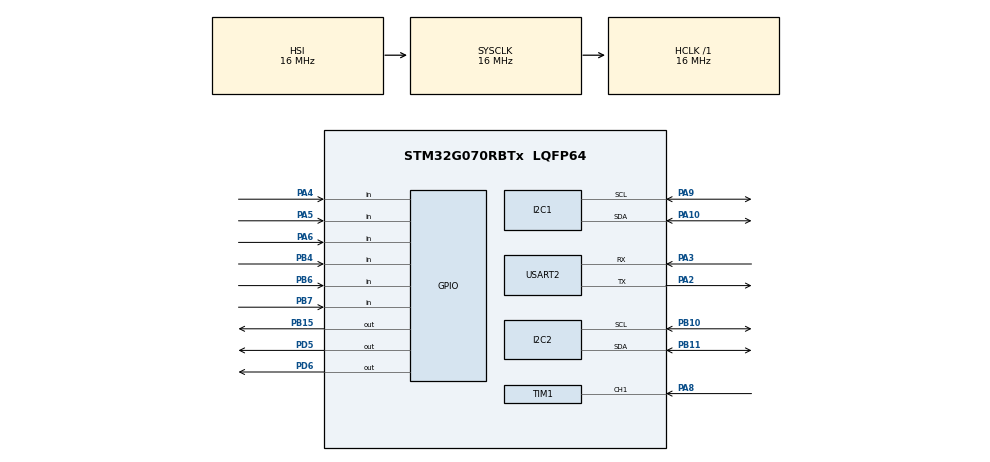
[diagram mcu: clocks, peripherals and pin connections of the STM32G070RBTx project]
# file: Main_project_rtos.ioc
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Mcu.Family=STM32G0
Mcu.Name=STM32G070RBTx
Mcu.Package=LQFP64
NVIC.TIM1_CC_IRQn=true\:0\:0\:false\:false\:true\:true\:true\:true
NVIC.TIM3_IRQn=true\:3\:0\:false\:false\:true\:false\:true\:true
NVIC.TimeBase=TIM3_IRQn
NVIC.TimeBaseIP=TIM3
PA10.Mode=I2C
PA10.Signal=I2C1_SDA
PA13.Mode=Serial_Wire
PA13.Signal=SYS_SWDIO
PA14-BOOT0.Mode=Serial_Wire
PA14-BOOT0.Signal=SYS_SWCLK
PA2.Mode=Asynchronous
PA2.Signal=USART2_TX
PA3.Mode=Asynchronous
PA3.Signal=USART2_RX
PA4.Signal=GPIO_Input
PA5.Signal=GPIO_Input
PA6.Signal=GPIO_Input
PA8.Signal=S_TIM1_CH1
PA9.Mode=I2C
PA9.Signal=I2C1_SCL
PB10.Mode=I2C
PB10.Signal=I2C2_SCL
PB11.Mode=I2C
PB11.Signal=I2C2_SDA
PB15.Signal=GPIO_Output
PB4.Signal=GPIO_Input
PB6.Signal=GPIO_Input
PB7.Signal=GPIO_Input
PC14-OSC32_IN\ (PC14).Mode=LSE-External-Oscillator
PC14-OSC32_IN\ (PC14).Signal=RCC_OSC32_IN
PC15-OSC32_OUT\ (PC15).Mode=LSE-External-Oscillator
PC15-OSC32_OUT\ (PC15).Signal=RCC_OSC32_OUT
PD5.Signal=GPIO_Output
PD6.Signal=GPIO_Output
PF0-OSC_IN\ (PF0).Mode=HSE-External-Clock-Source
PF0-OSC_IN\ (PF0).Signal=RCC_OSC_IN
ProjectManager.HeapSize=0x200
ProjectManager.StackSize=0x400
ProjectManager.TargetToolchain=STM32CubeIDE
RCC.AHBFreq_Value=16000000
RCC.CortexFreq_Value=16000000
RCC.EXTERNAL_CLOCK_VALUE=12288000
RCC.HCLKFreq_Value=16000000
RCC.HSE_VALUE=8000000
RCC.HSI_VALUE=16000000
RCC.SYSCLKFreq_VALUE=16000000
RCC.VCOOutputFreq_Value=128000000
SH.S_TIM1_CH1.0=TIM1_CH1,Input_Capture1_from_TI1
TIM1.Channel-Input_Capture1_from_TI1=TIM_CHANNEL_1
TIM1.Prescaler=72-1
USART2.VirtualMode-Asynchronous=VM_ASYNC
VP_SYS_VS_tim3.Mode=TIM3
board=NUCLEO-G070RB

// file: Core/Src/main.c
/* USER CODE BEGIN Header */
/**
  ******************************************************************************
  * @file           : main.c
  * @brief          : Main program body
  ******************************************************************************
  * @attention
  *
  * Copyright (c) 2023 STMicroelectronics.
  * All rights reserved.
  *
  * This software is licensed under terms that can be found in the LICENSE file
  * in the root directory of this software component.
  * If no LICENSE file comes with this software, it is provided AS-IS.
  *
  ******************************************************************************
  */
/* USER CODE END Header */
#include "main.h"

/* USER CODE BEGIN Includes */
#include "FreeRTOS.h"
#include "task.h"
#include "semphr.h"
#include "queue.h"
#include "timers.h"

#include "lcd_i2c.h"  // Library for I2C LCD display

/* USER CODE END Includes */

/* USER CODE BEGIN PD */
#define TRIGGER_PIN        GPIO_PIN_0
#define ECHO_PIN           GPIO_PIN_1
#define LEFT_IR_PIN        GPIO_PIN_2
#define RIGHT_IR_PIN       GPIO_PIN_3
#define MOTOR_ENA          GPIO_PIN_4
#define MOTOR_IN1          GPIO_PIN_5
#define MOTOR_IN2          GPIO_PIN_6
#define MOTOR_ENB          GPIO_PIN_7
#define MOTOR_IN3          GPIO_PIN_8
#define MOTOR_IN4          GPIO_PIN_9
#define BLUETOOTH_RX_PIN   GPIO_PIN_10
#define BLUETOOTH_TX_PIN   GPIO_PIN_11
#define RFID_RX_PIN        GPIO_PIN_12
#define RFID_TX_PIN        GPIO_PIN_13
#define LDR_PIN            GPIO_PIN_14
#define SWITCH_PIN         GPIO_PIN_13
#define I2C_SCL_PIN        GPIO_PIN_9
#define I2C_SDA_PIN        GPIO_PIN_10

/* USER CODE END PD */

I2C_HandleTypeDef hi2c1;
I2C_HandleTypeDef hi2c2;

TIM_HandleTypeDef htim1;

UART_HandleTypeDef huart2;

/* USER CODE BEGIN PV */
QueueHandle_t distanceQueue;
QueueHandle_t bluetoothQueue;
QueueHandle_t rfidQueue;
SemaphoreHandle_t ldrSemaphore;
TaskHandle_t lcdTaskHandle;

/* USER CODE END PV */

void SystemClock_Config(void);
static void MX_GPIO_Init(void);
static void MX_USART2_UART_Init(void);
static void MX_I2C1_Init(void);
static void MX_I2C2_Init(void);
static void MX_TIM1_Init(void);
/* USER CODE BEGIN PFP */

typedef enum {
  IR_MODE,
  BLUETOOTH_MODE
} Mode;

Mode currentMode = IR_MODE;
uint32_t rfidData = 0;
char receivedChar = '\0';

void UltrasonicSensor_Task(void *pvParameters);
void ObstacleAvoidance_Task(void *pvParameters);
void LineController_Task(void *pvParameters);
void Bluetooth_Task(void *pvParameters);
void RFID_Task(void *pvParameters);
void LDRLight_Task(void *pvParameters);
void LCD_Task(void *pvParameters);

void UltrasonicSensor_Task(void *pvParameters)
{
  float distance;

  while (1)
  {
    // Measure distance using ultrasonic sensor
    // Trigger the sensor and calculate the time for echo
    // Calculate the distance based on the time and the speed of sound
    // Store the distance in a variable or queue

    xQueueSend(distanceQueue, &distance, portMAX_DELAY);

    vTaskDelay(pdMS_TO_TICKS(500)); // Adjust the delay based on your requirements
  }
}

void ObstacleAvoidance_Task(void *pvParameters)
{
  float distance;

  while (1)
  {
    // Check the distance measured by the ultrasonic sensor
    // If an obstacle is detected within a threshold distance, take appropriate action
    // For example, stop the motors, reverse, and turn in a different direction
    // You can control the motor driver using HAL_GPIO_WritePin to set GPIO outputs

    if (currentMode == IR_MODE)
    {
      xQueueReceive(distanceQueue, &distance, portMAX_DELAY);

      // Implement obstacle avoidance logic

      vTaskDelay(pdMS_TO_TICKS(100)); // Adjust the delay based on your requirements
    }
    else
    {
      // No obstacle avoidance needed in Bluetooth mode
      vTaskDelay(pdMS_TO_TICKS(100)); // Adjust the delay based on your requirements
    }
  }
}

void LineController_Task(void *pvParameters)
{
  while (1)
  {
    // Read the values from the IR sensors to detect the line
    // Based on the sensor readings, adjust the motor speed and direction to follow the line
    // You can control the motor driver using HAL_GPIO_WritePin to set GPIO outputs

    if (currentMode == IR_MODE)
    {
      // Implement line following logic

      vTaskDelay(pdMS_TO_TICKS(50)); // Adjust the delay based on your requirements
    }
    else
    {
      // No line following needed in Bluetooth mode
      vTaskDelay(pdMS_TO_TICKS(50)); // Adjust the delay based on your requirements
    }
  }
}

void Bluetooth_Task(void *pvParameters)
{
  while (1)
  {
    // Read data from Bluetooth module and process it
    // You can use UART or USART HAL functions to communicate with the Bluetooth module
    // Process the received data and take necessary actions
    // You can send data to other tasks using a queue or semaphore

    if (currentMode == BLUETOOTH_MODE)
    {
      // Implement Bluetooth processing logic

      vTaskDelay(pdMS_TO_TICKS(10)); // Adjust the delay based on your requirements
    }
    else
    {
      // No Bluetooth processing needed in IR mode
      vTaskDelay(pdMS_TO_TICKS(10)); // Adjust the delay based on your requirements
    }
  }
}

void RFID_Task(void *pvParameters)
{
  while (1)
  {
    // Read data from RFID reader and process it
    // You can use UART or USART HAL functions to communicate with the RFID reader
    // Process the received data and take necessary actions
    // You can send data to other tasks using a queue or semaphore

    xQueueSend(rfidQueue, &rfidData, portMAX_DELAY);

    vTaskDelay(pdMS_TO_TICKS(10)); // Adjust the delay based on your requirements
  }
}

void LDRLight_Task(void *pvParameters)
{
  while (1)
  {
    // Read the value from the LDR sensor
    // Take appropriate actions based on the sensor reading
    // You can use HAL_GPIO_ReadPin to read the LDR pin status
    // Use a semaphore to synchronize with other tasks if required

    if (xSemaphoreTake(ldrSemaphore, pdMS_TO_TICKS(10)) == pdTRUE)
    {
      // Implement LDR light control logic

      xSemaphoreGive(ldrSemaphore);
    }

    vTaskDelay(pdMS_TO_TICKS(100)); // Adjust the delay based on your requirements
  }
}

void LCD_Task(void *pvParameters)
{
  LCD_Init();  // Initialize LCD display
  LCD_Clear();

  while (1)
  {
    // Update the LCD display with relevant information
    // You can use LCD library functions to write text and control the display
    // Use a mutex or semaphore to protect the LCD access when multiple tasks are writing to it

    xSemaphoreTake(ldrSemaphore, portMAX_DELAY);

    if (currentMode == IR_MODE)
    {
      LCD_SetCursor(0, 0);
      LCD_Print("IR Mode");

      // Display other relevant information for IR mode

      vTaskDelay(pdMS_TO_TICKS(1000)); // Adjust the delay based on your requirements
    }
    else
    {
      LCD_SetCursor(0, 0);
      LCD_Print("Bluetooth Mode");

      // Display other relevant information for Bluetooth mode

      vTaskDelay(pdMS_TO_TICKS(1000)); // Adjust the delay based on your requirements
    }

    xSemaphoreGive(ldrSemaphore);
  }
}

/* USER CODE END PFP */

int main(void)
{
  /* USER CODE BEGIN 1 */
	LCD_Init();  // Initialize LCD display
		  LCD_Clear();
		  LCD_SetCursor(0, 1);
		  LCD_Print("IR Mode");

  /* USER CODE END 1 */

  /* MCU Configuration--------------------------------------------------------*/

  /* Reset of all peripherals, Initializes the Flash interface and the Systick. */
  HAL_Init();

  /* Configure the system clock */
  SystemClock_Config();

  /* Initialize all configured peripherals */
  MX_GPIO_Init();
  MX_USART2_UART_Init();
  MX_I2C1_Init();
  MX_I2C2_Init();
  MX_TIM1_Init();
  /* USER CODE BEGIN 2 */
  distanceQueue = xQueueCreate(1, sizeof(float));
    bluetoothQueue = xQueueCreate(10, sizeof(char));
    rfidQueue = xQueueCreate(10, sizeof(uint32_t));
    ldrSemaphore = xSemaphoreCreateBinary();

  	xTaskCreate(UltrasonicSensor_Task, "UltrasonicTask", configMINIMAL_STACK_SIZE, NULL, 4, NULL);
    xTaskCreate(ObstacleAvoidance_Task, "ObstacleTask", configMINIMAL_STACK_SIZE, NULL, 5, NULL);
    xTaskCreate(LineController_Task, "LineTask", configMINIMAL_STACK_SIZE, NULL, 6, NULL);
    xTaskCreate(Bluetooth_Task, "BluetoothTask", configMINIMAL_STACK_SIZE, NULL, 7, NULL);
    xTaskCreate(RFID_Task, "RFIDTask", configMINIMAL_STACK_SIZE, NULL, 8, NULL);
    xTaskCreate(LDRLight_Task, "LDRTask", configMINIMAL_STACK_SIZE, NULL, 9, NULL);
    xTaskCreate(LCD_Task, "LCDTask", configMINIMAL_STACK_SIZE, NULL, 1, &lcdTaskHandle);

    vTaskStartScheduler();

  /* USER CODE END 2 */

  /* Infinite loop */
  while (1)
  {

  }
}

void SystemClock_Config(void)
{
  RCC_OscInitTypeDef RCC_OscInitStruct = {0};
  RCC_ClkInitTypeDef RCC_ClkInitStruct = {0};

  /** Configure the main internal regulator output voltage
  */
  HAL_PWREx_ControlVoltageScaling(PWR_REGULATOR_VOLTAGE_SCALE1);

  /** Initializes the RCC Oscillators according to the specified parameters
  * in the RCC_OscInitTypeDef structure.
  */
  RCC_OscInitStruct.OscillatorType = RCC_OSCILLATORTYPE_HSI;
  RCC_OscInitStruct.HSIState = RCC_HSI_ON;
  RCC_OscInitStruct.HSIDiv = RCC_HSI_DIV1;
  RCC_OscInitStruct.HSICalibrationValue = RCC_HSICALIBRATION_DEFAULT;
  RCC_OscInitStruct.PLL.PLLState = RCC_PLL_NONE;
  if (HAL_RCC_OscConfig(&RCC_OscInitStruct) != HAL_OK)
  {
    Error_Handler();
  }

  /** Initializes the CPU, AHB and APB buses clocks
  */
  RCC_ClkInitStruct.ClockType = RCC_CLOCKTYPE_HCLK|RCC_CLOCKTYPE_SYSCLK
                              |RCC_CLOCKTYPE_PCLK1;
  RCC_ClkInitStruct.SYSCLKSource = RCC_SYSCLKSOURCE_HSI;
  RCC_ClkInitStruct.AHBCLKDivider = RCC_SYSCLK_DIV1;
  RCC_ClkInitStruct.APB1CLKDivider = RCC_HCLK_DIV1;

  if (HAL_RCC_ClockConfig(&RCC_ClkInitStruct, FLASH_LATENCY_0) != HAL_OK)
  {
    Error_Handler();
  }
}

static void MX_I2C1_Init(void)
{

  hi2c1.Instance = I2C1;
  hi2c1.Init.Timing = 0x00303D5B;
  hi2c1.Init.OwnAddress1 = 0;
  hi2c1.Init.AddressingMode = I2C_ADDRESSINGMODE_7BIT;
  hi2c1.Init.DualAddressMode = I2C_DUALADDRESS_DISABLE;
  hi2c1.Init.OwnAddress2 = 0;
  hi2c1.Init.OwnAddress2Masks = I2C_OA2_NOMASK;
  hi2c1.Init.GeneralCallMode = I2C_GENERALCALL_DISABLE;
  hi2c1.Init.NoStretchMode = I2C_NOSTRETCH_DISABLE;
  if (HAL_I2C_Init(&hi2c1) != HAL_OK)
  {
    Error_Handler();
  }

  /** Configure Analogue filter
  */
  if (HAL_I2CEx_ConfigAnalogFilter(&hi2c1, I2C_ANALOGFILTER_ENABLE) != HAL_OK)
  {
    Error_Handler();
  }

  /** Configure Digital filter
  */
  if (HAL_I2CEx_ConfigDigitalFilter(&hi2c1, 0) != HAL_OK)
  {
    Error_Handler();
  }

}

static void MX_I2C2_Init(void)
{

  hi2c2.Instance = I2C2;
  hi2c2.Init.Timing = 0x00303D5B;
  hi2c2.Init.OwnAddress1 = 0;
  hi2c2.Init.AddressingMode = I2C_ADDRESSINGMODE_7BIT;
  hi2c2.Init.DualAddressMode = I2C_DUALADDRESS_DISABLE;
  hi2c2.Init.OwnAddress2 = 0;
  hi2c2.Init.OwnAddress2Masks = I2C_OA2_NOMASK;
  hi2c2.Init.GeneralCallMode = I2C_GENERALCALL_DISABLE;
  hi2c2.Init.NoStretchMode = I2C_NOSTRETCH_DISABLE;
  if (HAL_I2C_Init(&hi2c2) != HAL_OK)
  {
    Error_Handler();
  }

  /** Configure Analogue filter
  */
  if (HAL_I2CEx_ConfigAnalogFilter(&hi2c2, I2C_ANALOGFILTER_ENABLE) != HAL_OK)
  {
    Error_Handler();
  }

  /** Configure Digital filter
  */
  if (HAL_I2CEx_ConfigDigitalFilter(&hi2c2, 0) != HAL_OK)
  {
    Error_Handler();
  }

}

static void MX_TIM1_Init(void)
{

  TIM_MasterConfigTypeDef sMasterConfig = {0};
  TIM_IC_InitTypeDef sConfigIC = {0};

  htim1.Instance = TIM1;
  htim1.Init.Prescaler = 72-1;
  htim1.Init.CounterMode = TIM_COUNTERMODE_UP;
  htim1.Init.Period = 65535;
  htim1.Init.ClockDivision = TIM_CLOCKDIVISION_DIV1;
  htim1.Init.RepetitionCounter = 0;
  htim1.Init.AutoReloadPreload = TIM_AUTORELOAD_PRELOAD_DISABLE;
  if (HAL_TIM_IC_Init(&htim1) != HAL_OK)
  {
    Error_Handler();
  }
  sMasterConfig.MasterOutputTrigger = TIM_TRGO_RESET;
  sMasterConfig.MasterOutputTrigger2 = TIM_TRGO2_RESET;
  sMasterConfig.MasterSlaveMode = TIM_MASTERSLAVEMODE_DISABLE;
  if (HAL_TIMEx_MasterConfigSynchronization(&htim1, &sMasterConfig) != HAL_OK)
  {
    Error_Handler();
  }
  sConfigIC.ICPolarity = TIM_INPUTCHANNELPOLARITY_RISING;
  sConfigIC.ICSelection = TIM_ICSELECTION_DIRECTTI;
  sConfigIC.ICPrescaler = TIM_ICPSC_DIV1;
  sConfigIC.ICFilter = 0;
  if (HAL_TIM_IC_ConfigChannel(&htim1, &sConfigIC, TIM_CHANNEL_1) != HAL_OK)
  {
    Error_Handler();
  }

}

static void MX_USART2_UART_Init(void)
{

  huart2.Instance = USART2;
  huart2.Init.BaudRate = 115200;
  huart2.Init.WordLength = UART_WORDLENGTH_8B;
  huart2.Init.StopBits = UART_STOPBITS_1;
  huart2.Init.Parity = UART_PARITY_NONE;
  huart2.Init.Mode = UART_MODE_TX_RX;
  huart2.Init.HwFlowCtl = UART_HWCONTROL_NONE;
  huart2.Init.OverSampling = UART_OVERSAMPLING_16;
  huart2.Init.OneBitSampling = UART_ONE_BIT_SAMPLE_DISABLE;
  huart2.Init.ClockPrescaler = UART_PRESCALER_DIV1;
  huart2.AdvancedInit.AdvFeatureInit = UART_ADVFEATURE_NO_INIT;
  if (HAL_UART_Init(&huart2) != HAL_OK)
  {
    Error_Handler();
  }
  if (HAL_UARTEx_SetTxFifoThreshold(&huart2, UART_TXFIFO_THRESHOLD_1_8) != HAL_OK)
  {
    Error_Handler();
  }
  if (HAL_UARTEx_SetRxFifoThreshold(&huart2, UART_RXFIFO_THRESHOLD_1_8) != HAL_OK)
  {
    Error_Handler();
  }
  if (HAL_UARTEx_DisableFifoMode(&huart2) != HAL_OK)
  {
    Error_Handler();
  }

}

static void MX_GPIO_Init(void)
{
  GPIO_InitTypeDef GPIO_InitStruct = {0};

  /* GPIO Ports Clock Enable */
  __HAL_RCC_GPIOC_CLK_ENABLE();
  __HAL_RCC_GPIOF_CLK_ENABLE();
  __HAL_RCC_GPIOA_CLK_ENABLE();
  __HAL_RCC_GPIOB_CLK_ENABLE();
  __HAL_RCC_GPIOD_CLK_ENABLE();

  /*Configure GPIO pin Output Level */
  HAL_GPIO_WritePin(GPIOB, GPIO_PIN_15, GPIO_PIN_RESET);

  /*Configure GPIO pin Output Level */
  HAL_GPIO_WritePin(GPIOD, GPIO_PIN_5|GPIO_PIN_6, GPIO_PIN_RESET);

  /*Configure GPIO pins : PA4 PA5 PA6 */
  GPIO_InitStruct.Pin = GPIO_PIN_4|GPIO_PIN_5|GPIO_PIN_6;
  GPIO_InitStruct.Mode = GPIO_MODE_INPUT;
  GPIO_InitStruct.Pull = GPIO_NOPULL;
  HAL_GPIO_Init(GPIOA, &GPIO_InitStruct);

  /*Configure GPIO pin : PB15 */
  GPIO_InitStruct.Pin = GPIO_PIN_15;
  GPIO_InitStruct.Mode = GPIO_MODE_OUTPUT_PP;
  GPIO_InitStruct.Pull = GPIO_NOPULL;
  GPIO_InitStruct.Speed = GPIO_SPEED_FREQ_LOW;
  HAL_GPIO_Init(GPIOB, &GPIO_InitStruct);

  /*Configure GPIO pins : PD5 PD6 */
  GPIO_InitStruct.Pin = GPIO_PIN_5|GPIO_PIN_6;
  GPIO_InitStruct.Mode = GPIO_MODE_OUTPUT_PP;
  GPIO_InitStruct.Pull = GPIO_NOPULL;
  GPIO_InitStruct.Speed = GPIO_SPEED_FREQ_LOW;
  HAL_GPIO_Init(GPIOD, &GPIO_InitStruct);

  /*Configure GPIO pins : PB4 PB6 PB7 */
  GPIO_InitStruct.Pin = GPIO_PIN_4|GPIO_PIN_6|GPIO_PIN_7;
  GPIO_InitStruct.Mode = GPIO_MODE_INPUT;
  GPIO_InitStruct.Pull = GPIO_NOPULL;
  HAL_GPIO_Init(GPIOB, &GPIO_InitStruct);

}

/* USER CODE BEGIN 4 */

  void HAL_GPIO_EXTI_Rising_Callback(uint16_t GPIO_Pin)
    {
      if (GPIO_Pin == SWITCH_PIN)
      {
        if (HAL_GPIO_ReadPin(GPIOC, SWITCH_PIN) == GPIO_PIN_RESET)
        {
          // Switch is pressed, change the mode
          if (currentMode == IR_MODE)
          {
            currentMode = BLUETOOTH_MODE;
            LCD_SetCursor(0, 0);
            LCD_Print("Bluetooth Mode");

            // Suspend tasks related to IR mode
            //vTaskSuspend(ObstacleAvoidance_Task_Handle);
            //vTaskSuspend(LineController_Task_Handle);
          }
          else
          {
            currentMode = IR_MODE;
            LCD_SetCursor(0, 0);
            LCD_Print("IR Mode");

            // Resume tasks related to IR mode
            //vTaskResume(ObstacleAvoidance_Task_Handle);
            //vTaskResume(LineController_Task_Handle);
          }
        }
      }
    }

    void HAL_UART_RxCpltCallback(UART_HandleTypeDef *huart)
    {
      if (huart->Instance == USART1)
      {
        // Bluetooth UART receive interrupt callback
        // Process the received character and handle Bluetooth commands

        BaseType_t xHigherPriorityTaskWoken = pdFALSE;
        xQueueSendFromISR(bluetoothQueue, &receivedChar, &xHigherPriorityTaskWoken);

        if (xHigherPriorityTaskWoken == pdTRUE)
        {
          //portYIELD_FROM_ISR();
        }
      }
    }

    void HAL_UART_TxCpltCallback(UART_HandleTypeDef *huart)
    {
      if (huart->Instance == USART1)
      {
        // Bluetooth UART transmit complete callback
        // Handle any necessary actions after transmission completes
      }
    }

    void HAL_UART_ErrorCallback(UART_HandleTypeDef *huart)
    {
      if (huart->Instance == USART1)
      {
        // Bluetooth UART error callback
        // Handle any necessary error handling or recovery
      }
    }

/* USER CODE END 4 */

void HAL_TIM_PeriodElapsedCallback(TIM_HandleTypeDef *htim)
{
  if (htim->Instance == TIM3) {
    HAL_IncTick();
  }
}

void Error_Handler(void)
{
  __disable_irq();
  while (1)
  {
  }
}
